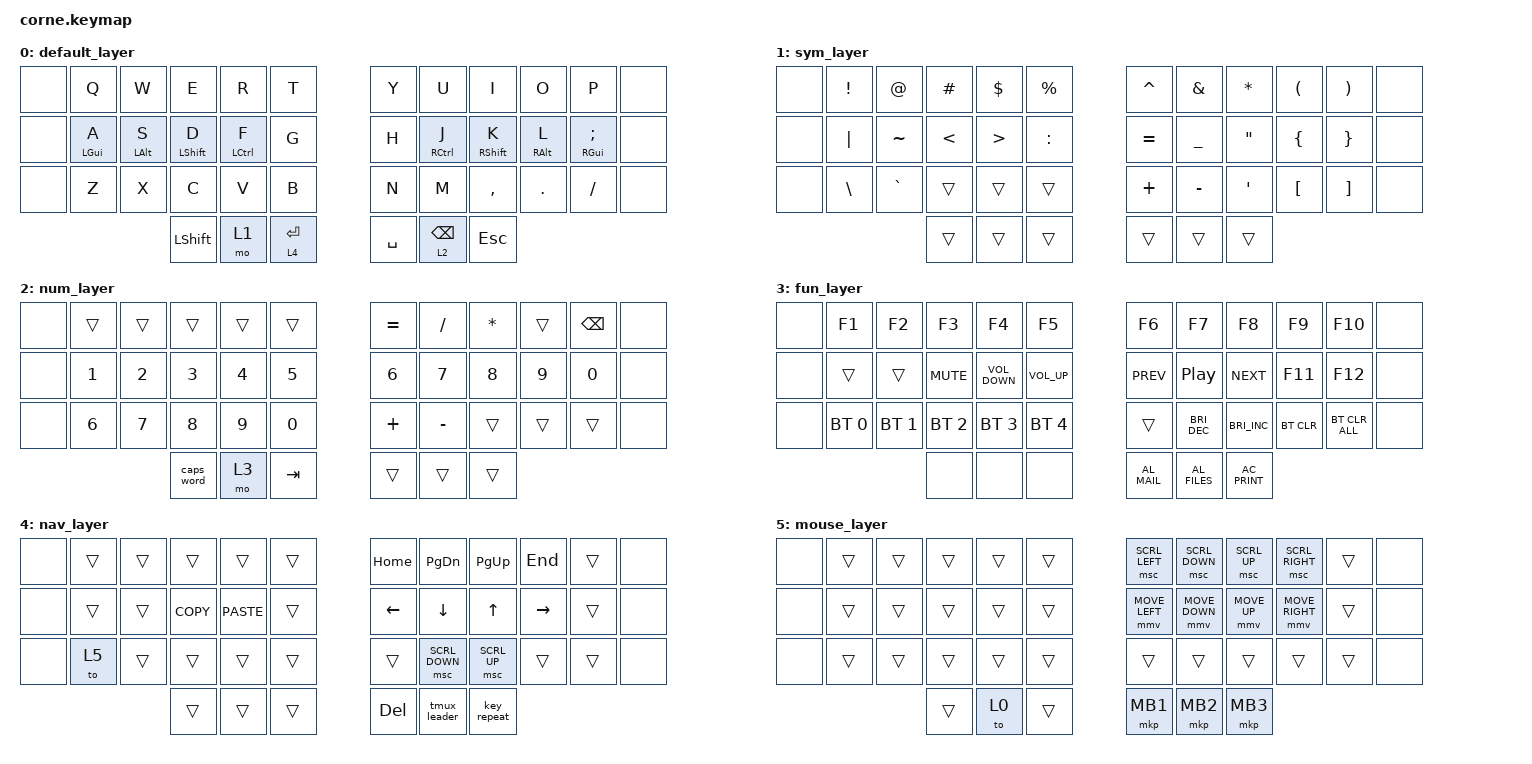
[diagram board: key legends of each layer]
/*
 * Copyright (c) 2020 The ZMK Contributors
 *
 * SPDX-License-Identifier: MIT
 */
// Should be before including header for pointing 

#define ZMK_POINTING_DEFAULT_MOVE_VAL 1100  // default: 600
#define ZMK_POINTING_DEFAULT_SCRL_VAL 30    // default: 10

#include <behaviors.dtsi>
#include <dt-bindings/zmk/bt.h>
#include <dt-bindings/zmk/keys.h>
#include <dt-bindings/zmk/pointing.h>

&mt { flavor = "tap-preferred"; };

/ {
    behaviors {
        hm: hm {
            compatible = "zmk,behavior-hold-tap";
            label = "HOMEROW_MODS";
            bindings = <&kp>, <&kp>;

            #binding-cells = <2>;
            tapping-term-ms = <200>;
            quick-tap-ms = <0>;
            flavor = "tap-preferred";
        };
    };

    macros {
        tmux_leader: tmux_leader {
            compatible = "zmk,behavior-macro";
            #binding-cells = <0>;
            bindings =
                <&macro_press>,
                <&kp LCTRL>,
                <&macro_tap>,
                <&kp A>,
                <&macro_release>,
                <&kp LCTRL>,
                <&macro_wait_time 10>;

            label = "TMUX_LEADER";
        };
    };

    combos {
        compatible = "zmk,combos";

        caps_lock {
            bindings = <&kp CAPSLOCK>;
            key-positions = <17 18>;
            layers = <0>;
        };

        esc_combo {
            bindings = <&kp ESC>;
            key-positions = <19 20>;
            layers = <0>;
            timeout-ms = <220>;
        };
    };

    keymap {
        compatible = "zmk,keymap";

        default_layer {
            // -----------------------------------------------------------------------------------------
            // |  TAB |  Q  |  W  |  E  |  R  |  T  |   |  Y  |  U   |  I  |  O  |  P  | BSPC |
            // | CTRL |  A  |  S  |  D  |  F  |  G  |   |  H  |  J   |  K  |  L  |  ;  |  '   |
            // | SHFT |  Z  |  X  |  C  |  V  |  B  |   |  N  |  M   |  ,  |  .  |  /  | ESC  |
            //                    | GUI | LWR | SPC |   | ENT | RSE  | ALT |

            bindings = <
&none  &kp Q           &kp W           &kp E           &kp R        &kp T          &kp Y      &kp U            &kp I        &kp O            &kp P               &none
&none  &hm LEFT_GUI A  &hm LEFT_ALT S  &hm LSHIFT D    &hm LCTRL F  &kp G          &kp H      &hm RCTRL J      &hm RSHFT K  &hm RIGHT_ALT L  &hm RGUI SEMICOLON  &none
&none  &kp Z           &kp X           &kp C           &kp V        &kp B          &kp N      &kp M            &kp COMMA    &kp DOT          &kp FSLH            &none
                                       &kp LEFT_SHIFT  &mo 1        &lt 4 ENTER    &kp SPACE  &lt 2 BACKSPACE  &kp ESCAPE
            >;
        };

        sym_layer {
            // -----------------------------------------------------------------------------------------
            // |  TAB |  !  |  @  |  #  |  $  |  %  |   |  ^  |  &  |  *  |  (  |  )  | BSPC |
            // | CTRL |     |     |     |     |     |   |  -  |  =  |  [  |  ]  |  \  |  `   |
            // | SHFT |     |     |     |     |     |   |  _  |  +  |  {  |  }  | "|" |  ~   |
            //                    | GUI |     | SPC |   | ENT |     | ALT |

            bindings = <
&none  &kp EXCL       &kp AT     &kp HASH       &kp DLLR          &kp PRCNT    &kp CARET  &kp AMPS        &kp ASTRK  &kp LPAR        &kp RPAR         &none
&none  &kp PIPE       &kp TILDE  &kp LESS_THAN  &kp GREATER_THAN  &kp COLON    &kp EQUAL  &kp UNDERSCORE  &kp DQT    &kp LEFT_BRACE  &kp RIGHT_BRACE  &none
&none  &kp BACKSLASH  &kp GRAVE  &trans         &trans            &trans       &kp PLUS   &kp MINUS       &kp SQT    &kp LBKT        &kp RBKT         &none
                                 &trans         &trans            &trans       &trans     &trans          &trans
            >;
        };

        num_layer {
            bindings = <
&none  &trans  &trans  &trans      &trans  &trans     &kp EQUAL  &kp SLASH  &kp ASTERISK  &trans  &kp BACKSPACE  &none
&none  &kp N1  &kp N2  &kp N3      &kp N4  &kp N5     &kp N6     &kp N7     &kp N8        &kp N9  &kp N0         &none
&none  &kp N6  &kp N7  &kp N8      &kp N9  &kp N0     &kp PLUS   &kp MINUS  &trans        &trans  &trans         &none
                       &caps_word  &mo 3   &kp TAB    &trans     &trans     &trans
            >;
        };

        fun_layer {
            bindings = <
&none  &kp F1        &kp F2        &kp F3        &kp F4             &kp F5             &kp F6         &kp F7                &kp F8                &kp F9      &kp F10         &none
&none  &trans        &trans        &kp K_MUTE    &kp C_VOLUME_DOWN  &kp C_VOLUME_UP    &kp C_PREV     &kp C_PP              &kp C_NEXT            &kp F11     &kp F12         &none
&none  &bt BT_SEL 0  &bt BT_SEL 1  &bt BT_SEL 2  &bt BT_SEL 3       &bt BT_SEL 4       &trans         &kp C_BRIGHTNESS_DEC  &kp C_BRIGHTNESS_INC  &bt BT_CLR  &bt BT_CLR_ALL  &none
                                   &none         &none              &none              &kp C_AL_MAIL  &kp C_AL_FILES        &kp C_AC_PRINT
            >;
        };

        nav_layer {
            bindings = <
&none  &trans  &trans  &trans      &trans       &trans    &kp HOME    &kp PAGE_DOWN   &kp PAGE_UP   &kp END    &trans  &none
&none  &trans  &trans  &kp K_COPY  &kp K_PASTE  &trans    &kp LEFT    &kp DOWN        &kp UP        &kp RIGHT  &trans  &none
&none  &to 5   &trans  &trans      &trans       &trans    &trans      &msc SCRL_DOWN  &msc SCRL_UP  &trans     &trans  &none
                       &trans      &trans       &trans    &kp DELETE  &tmux_leader    &key_repeat
            >;
        };

        mouse_layer {
            bindings = <
&none  &trans  &trans  &trans  &trans  &trans    &msc SCRL_LEFT  &msc SCRL_DOWN  &msc SCRL_UP  &msc SCRL_RIGHT  &trans  &none
&none  &trans  &trans  &trans  &trans  &trans    &mmv MOVE_LEFT  &mmv MOVE_DOWN  &mmv MOVE_UP  &mmv MOVE_RIGHT  &trans  &none
&none  &trans  &trans  &trans  &trans  &trans    &trans          &trans          &trans        &trans           &trans  &none
                       &trans  &to 0   &trans    &mkp MB1        &mkp MB2        &mkp MB3
            >;
        };
    };
};
